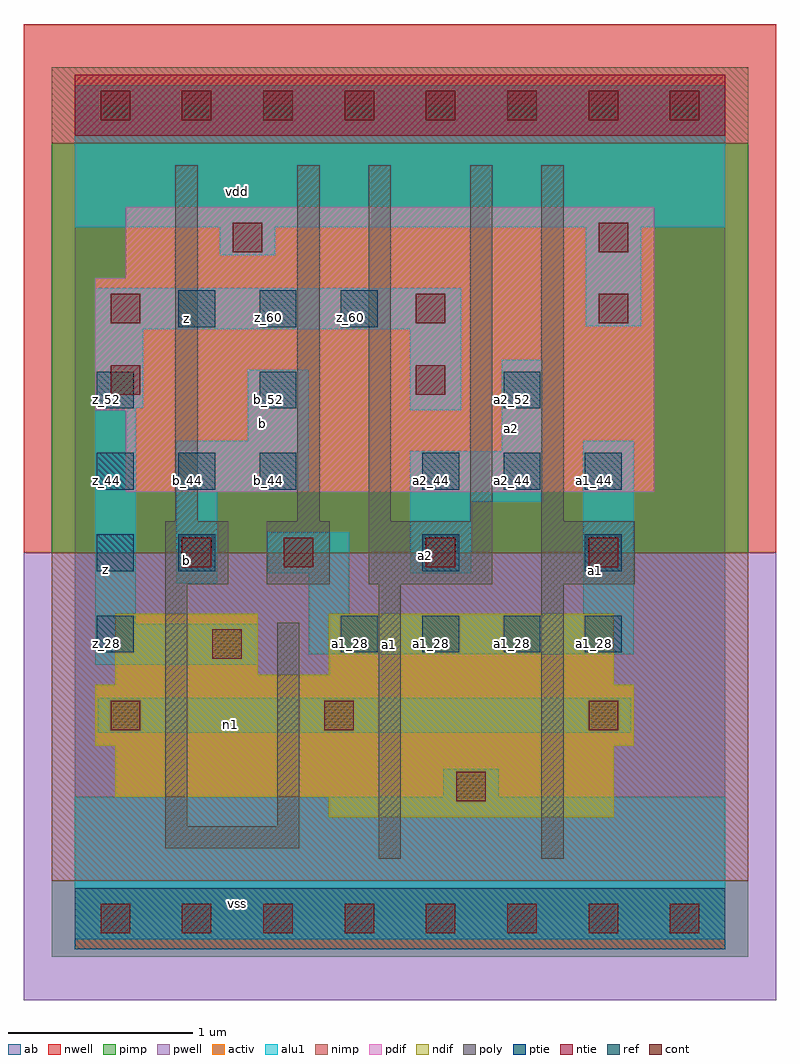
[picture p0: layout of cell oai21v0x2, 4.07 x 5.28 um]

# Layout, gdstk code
import gdstk
lib = gdstk.Library(unit=1e-6, precision=2.5e-09)
def R(c, l, rs):  # rectangles x0, y0, x1, y1
    for r in rs: c.add(gdstk.rectangle(r[:2], r[2:], *l))
def A(c, l, x, y, w, h, nx, ny, dx, dy):  # array of equal rectangles
    R(c, l, [(x+i*dx, y+j*dy, x+i*dx+w, y+j*dy+h) for i in range(nx) for j in range(ny)])
ndif = (3, 0)
pdif = (4, 0)
ntie = (5, 0)
ptie = (6, 0)
ref = (24, 0)
cont = (25, 0)
pwell = (41, 0)
nwell = (42, 0)
activ = (43, 0)
pimp = (44, 0)
nimp = (45, 0)
poly = (46, 0)
alu1 = (49, 0)
ab = (63, 0)

oai21v0x2 = lib.new_cell('oai21v0x2')
R(oai21v0x2, ndif, [(1.375,0.55,2.915,0.66), (0.22,0.66,2.915,0.935), (0.11,0.935,3.025,1.265), (0.22,1.265,2.915,1.32), (0.22,1.32,0.99,1.65), (1.375,1.32,2.915,1.65)])
R(oai21v0x2, pdif, [(0.275,2.31,3.135,2.75), (0.11,2.75,3.135,3.465), (0.275,3.465,3.135,3.85)])
R(oai21v0x2, ntie, [(0,4.235,3.52,4.565)])
R(oai21v0x2, ptie, [(0,-0.165,3.52,0.165)])
A(oai21v0x2, ref, 1.44, 1.44, 0.2, 0.2, 4, 1, 0.44, 0)
A(oai21v0x2, ref, 0.12, 2.32, 0.2, 0.2, 3, 1, 0.44, 0)
A(oai21v0x2, ref, 1.88, 2.32, 0.2, 0.2, 3, 1, 0.44, 0)
A(oai21v0x2, ref, 0.56, 3.2, 0.2, 0.2, 3, 1, 0.44, 0)
R(oai21v0x2, ref, [(0.12,1.44,0.32,1.64), (0.12,1.88,0.32,2.08), (0.56,1.88,0.76,2.08), (1.88,1.88,2.08,2.08), (2.76,1.88,2.96,2.08), (0.12,2.76,0.32,2.96), (1,2.76,1.2,2.96), (2.32,2.76,2.52,2.96)])
A(oai21v0x2, cont, 0.14, -0.08, 0.16, 0.16, 8, 2, 0.44, 4.4)
R(oai21v0x2, cont, [(2.065,0.635,2.225,0.795), (0.195,1.02,0.355,1.18), (1.35,1.02,1.51,1.18), (2.78,1.02,2.94,1.18), (0.745,1.405,0.905,1.565), (0.58,1.9,0.74,2.06), (1.13,1.9,1.29,2.06), (1.9,1.9,2.06,2.06), (2.78,1.9,2.94,2.06), (0.195,2.835,0.355,2.995), (1.845,2.835,2.005,2.995), (0.195,3.22,0.355,3.38), (1.845,3.22,2.005,3.38), (2.835,3.22,2.995,3.38), (0.855,3.605,1.015,3.765), (2.835,3.605,2.995,3.765)])
R(oai21v0x2, pwell, [(-0.275,-0.44,3.795,1.98)])
R(oai21v0x2, nwell, [(-0.275,1.98,3.795,4.84)])
R(oai21v0x2, activ, [(0,-0.165,3.52,0.165), (1.375,0.55,2.915,0.66), (0.22,0.66,2.915,0.935), (0.11,0.935,3.025,1.265), (0.22,1.265,2.915,1.32), (0.22,1.32,0.99,1.65), (1.375,1.32,2.915,1.65), (0.275,2.31,3.135,2.75), (0.11,2.75,3.135,3.465), (0.275,3.465,3.135,3.85), (0,4.235,3.52,4.565)])
R(oai21v0x2, pimp, [(-0.125,-0.205,3.645,0.205), (-0.125,1.98,3.645,4.195)])
R(oai21v0x2, nimp, [(-0.125,0.205,3.645,1.98), (-0.125,4.195,3.645,4.605)])
R(oai21v0x2, poly, [(1.645,0.325,1.765,1.81), (2.525,0.325,2.645,1.81), (0.49,0.38,1.215,0.5), (0.49,0.5,0.61,1.81), (1.095,0.5,1.215,1.6), (0.49,1.81,0.83,2.15), (1.04,1.81,1.38,2.15), (1.59,1.81,2.26,2.15), (2.525,1.81,3.03,2.15), (0.545,2.15,0.665,4.075), (1.205,2.15,1.325,4.075), (1.59,2.15,1.71,4.075), (2.14,2.15,2.26,4.075), (2.525,2.15,2.645,4.075)])
R(oai21v0x2, alu1, [(0,-0.11,3.52,0.66), (1.995,0.66,2.295,0.81), (0.125,1.005,3.01,1.195), (0.11,1.375,0.99,1.595), (1.265,1.43,3.025,1.65), (0.11,1.595,0.33,2.765), (1.265,1.65,1.485,1.87), (2.75,1.65,3.025,2.585), (0.55,1.815,0.77,2.31), (1.045,1.87,1.485,2.09), (1.815,1.87,2.145,2.255), (1.815,2.255,2.53,2.53), (0.55,2.31,1.265,2.585), (2.31,2.53,2.53,3.025), (0.935,2.585,1.265,2.97), (1.815,2.75,2.09,3.19), (0.11,2.765,0.37,3.19), (0.11,3.19,2.09,3.41), (2.765,3.205,3.065,3.74), (0.785,3.59,1.085,3.74), (0,3.74,3.52,4.51)])
R(oai21v0x2, ab, [(0,0,3.52,4.4)])
oai21v0x2.add(gdstk.Label('vss', (0.88,0.0825), layer=49, texttype=0))
oai21v0x2.add(gdstk.Label('n1', (0.845,1.0525), layer=49, texttype=0))
oai21v0x2.add(gdstk.Label('a1', (1.705,1.485), layer=49, texttype=0))
oai21v0x2.add(gdstk.Label('a1', (2.8175,1.8825), layer=49, texttype=0))
oai21v0x2.add(gdstk.Label('a2', (1.8975,1.965), layer=49, texttype=0))
oai21v0x2.add(gdstk.Label('b', (0.605,1.9375), layer=49, texttype=0))
oai21v0x2.add(gdstk.Label('a2', (2.365,2.6525), layer=49, texttype=0))
oai21v0x2.add(gdstk.Label('b', (1.0175,2.68), layer=49, texttype=0))
oai21v0x2.add(gdstk.Label('z', (0.165,1.8875), layer=49, texttype=0))
oai21v0x2.add(gdstk.Label('z', (0.605,3.245), layer=49, texttype=0))
oai21v0x2.add(gdstk.Label('vdd', (0.88,3.9325), layer=49, texttype=0))
oai21v0x2.add(gdstk.Label('b_36', (0.61,1.93), layer=24, texttype=0))
oai21v0x2.add(gdstk.Label('b_44', (0.61,2.37), layer=24, texttype=0))
oai21v0x2.add(gdstk.Label('z_60', (0.61,3.25), layer=24, texttype=0))
oai21v0x2.add(gdstk.Label('b_44', (1.05,2.37), layer=24, texttype=0))
oai21v0x2.add(gdstk.Label('b_52', (1.05,2.81), layer=24, texttype=0))
oai21v0x2.add(gdstk.Label('z_60', (1.05,3.25), layer=24, texttype=0))
oai21v0x2.add(gdstk.Label('a1_28', (1.49,1.49), layer=24, texttype=0))
oai21v0x2.add(gdstk.Label('z_60', (1.49,3.25), layer=24, texttype=0))
oai21v0x2.add(gdstk.Label('a1_28', (1.93,1.49), layer=24, texttype=0))
oai21v0x2.add(gdstk.Label('a2_36', (1.93,1.93), layer=24, texttype=0))
oai21v0x2.add(gdstk.Label('a2_44', (1.93,2.37), layer=24, texttype=0))
oai21v0x2.add(gdstk.Label('z_28', (0.17,1.49), layer=24, texttype=0))
oai21v0x2.add(gdstk.Label('z_36', (0.17,1.93), layer=24, texttype=0))
oai21v0x2.add(gdstk.Label('z_44', (0.17,2.37), layer=24, texttype=0))
oai21v0x2.add(gdstk.Label('z_52', (0.17,2.81), layer=24, texttype=0))
oai21v0x2.add(gdstk.Label('a1_28', (2.37,1.49), layer=24, texttype=0))
oai21v0x2.add(gdstk.Label('a2_44', (2.37,2.37), layer=24, texttype=0))
oai21v0x2.add(gdstk.Label('a2_52', (2.37,2.81), layer=24, texttype=0))
oai21v0x2.add(gdstk.Label('a1_28', (2.81,1.49), layer=24, texttype=0))
oai21v0x2.add(gdstk.Label('a1_36', (2.81,1.93), layer=24, texttype=0))
oai21v0x2.add(gdstk.Label('a1_44', (2.81,2.37), layer=24, texttype=0))

lib.write_gds('oai21v0x2.gds')
